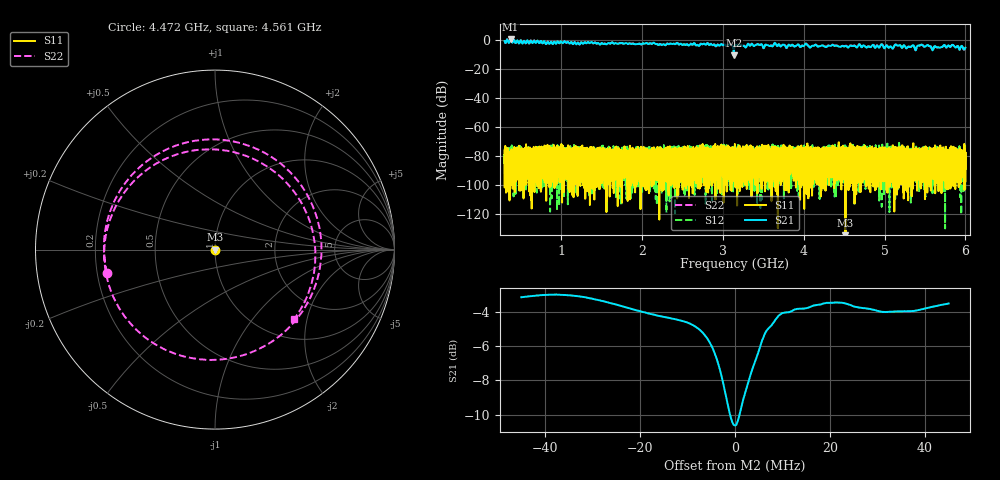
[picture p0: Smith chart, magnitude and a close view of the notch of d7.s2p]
!Agilent Technologies,N5230C,SG49000117,A.08.50.07
!Agilent N5230C: A.08.50.07
!Date: Monday, March 18, 2024 18:59:11
!Correction: S11(Off)
!S21(Off)
!S12(Off)
!S22(Off)
!S2P File: Measurements: S11, S21, S12, S22:
# Hz S  RI  R 50
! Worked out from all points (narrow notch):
!   20001 points, 300 MHz to 6 GHz, reference 50 ohm
!   highest |S21| = 0.45 dB at 373.5 MHz (marker M1); lowest = -10.6 dB at 3.134 GHz (marker M2)
!   notch at M2: 7.2 dB deep, 7.54 MHz wide at half that depth
!   lowest |S11| = -136.3 dB at 4.517 GHz (marker M3), VSWR 1.00, Z = 50 - j1.11e-05 ohm
!   |S11| at or under -10 dB: start of sweep to end of sweep
!   |S22| runs from -10.6 to 0.5 dB; largest |S21 - S12| = 1.1
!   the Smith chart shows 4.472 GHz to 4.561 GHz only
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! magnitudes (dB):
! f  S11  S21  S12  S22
! 300 MHz  -78.8  -0.9  -80.4  -0.9
! 373.5 MHz  -88.9  0.4  -96.9  0.5
! 1.25 GHz  -78.9  -1.7  -81.7  -1.7
! 2.2 GHz  -80.9  -3.6  -90.6  -3.6
! 3.082 GHz  -76.9  -3.4  -85.8  -3.4
! 3.134 GHz  -84.7  -10.6  -88.9  -10.6
! 3.15 GHz  -91.5  -3.7  -82.0  -3.7
! 3.172 GHz  -85.6  -3.9  -77.9  -3.9
! 3.269 GHz  -84.5  -4.4  -79.8  -4.3
! 3.335 GHz  -85.2  -4.1  -84.6  -4.0
! 3.975 GHz  -75.7  -4.2  -89.8  -4.1
! 4.032 GHz  -85.7  -2.8  -92.3  -2.7
! 4.1 GHz  -77.7  -4.2  -87.8  -4.1
! 4.517 GHz  -136.3  -4.3  -78.7  -4.2
! 5.05 GHz  -81.0  -5.4  -79.6  -5.4
! 5.155 GHz  -75.2  -3.9  -85.4  -3.9
! 5.39 GHz  -80.7  -6.6  -84.3  -6.6
! 5.449 GHz  -100.0  -3.5  -92.4  -3.5
! 5.586 GHz  -79.6  -6.5  -77.4  -6.5
! 5.839 GHz  -81.8  -3.5  -81.8  -3.5
! 5.947 GHz  -78.7  -4.5  -80.9  -4.5
! 6 GHz  -84.3  -5.5  -76.1  -5.5
